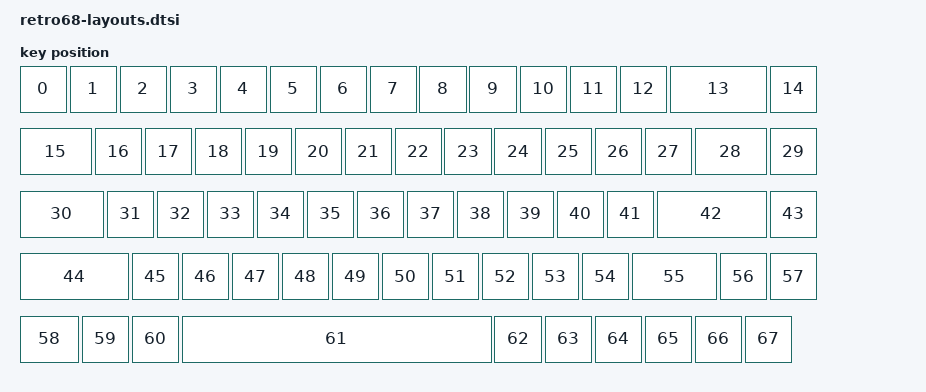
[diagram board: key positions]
#include <physical_layouts.dtsi>

/ {
    physical_layout_retro68: physical_layout_retro68 {
        compatible = "zmk,physical-layout";
        display-name = "Retro68";
        keys  //                     w   h    x    y     rot    rx    ry
            = <&key_physical_attrs 100 100    0    0       0     0     0>
            , <&key_physical_attrs 100 100  100    0       0     0     0>
            , <&key_physical_attrs 100 100  200    0       0     0     0>
            , <&key_physical_attrs 100 100  300    0       0     0     0>
            , <&key_physical_attrs 100 100  400    0       0     0     0>
            , <&key_physical_attrs 100 100  500    0       0     0     0>
            , <&key_physical_attrs 100 100  600    0       0     0     0>
            , <&key_physical_attrs 100 100  700    0       0     0     0>
            , <&key_physical_attrs 100 100  800    0       0     0     0>
            , <&key_physical_attrs 100 100  900    0       0     0     0>
            , <&key_physical_attrs 100 100 1000    0       0     0     0>
            , <&key_physical_attrs 100 100 1100    0       0     0     0>
            , <&key_physical_attrs 100 100 1200    0       0     0     0>
            , <&key_physical_attrs 200 100 1300    0       0     0     0>
            , <&key_physical_attrs 100 100 1500    0       0     0     0>
            , <&key_physical_attrs 150 100    0  125       0     0     0>
            , <&key_physical_attrs 100 100  150  125       0     0     0>
            , <&key_physical_attrs 100 100  250  125       0     0     0>
            , <&key_physical_attrs 100 100  350  125       0     0     0>
            , <&key_physical_attrs 100 100  450  125       0     0     0>
            , <&key_physical_attrs 100 100  550  125       0     0     0>
            , <&key_physical_attrs 100 100  650  125       0     0     0>
            , <&key_physical_attrs 100 100  750  125       0     0     0>
            , <&key_physical_attrs 100 100  850  125       0     0     0>
            , <&key_physical_attrs 100 100  950  125       0     0     0>
            , <&key_physical_attrs 100 100 1050  125       0     0     0>
            , <&key_physical_attrs 100 100 1150  125       0     0     0>
            , <&key_physical_attrs 100 100 1250  125       0     0     0>
            , <&key_physical_attrs 150 100 1350  125       0     0     0>
            , <&key_physical_attrs 100 100 1500  125       0     0     0>
            , <&key_physical_attrs 175 100    0  250       0     0     0>
            , <&key_physical_attrs 100 100  175  250       0     0     0>
            , <&key_physical_attrs 100 100  275  250       0     0     0>
            , <&key_physical_attrs 100 100  375  250       0     0     0>
            , <&key_physical_attrs 100 100  475  250       0     0     0>
            , <&key_physical_attrs 100 100  575  250       0     0     0>
            , <&key_physical_attrs 100 100  675  250       0     0     0>
            , <&key_physical_attrs 100 100  775  250       0     0     0>
            , <&key_physical_attrs 100 100  875  250       0     0     0>
            , <&key_physical_attrs 100 100  975  250       0     0     0>
            , <&key_physical_attrs 100 100 1075  250       0     0     0>
            , <&key_physical_attrs 100 100 1175  250       0     0     0>
            , <&key_physical_attrs 225 100 1275  250       0     0     0>
            , <&key_physical_attrs 100 100 1500  250       0     0     0>
            , <&key_physical_attrs 225 100    0  375       0     0     0>
            , <&key_physical_attrs 100 100  225  375       0     0     0>
            , <&key_physical_attrs 100 100  325  375       0     0     0>
            , <&key_physical_attrs 100 100  425  375       0     0     0>
            , <&key_physical_attrs 100 100  525  375       0     0     0>
            , <&key_physical_attrs 100 100  625  375       0     0     0>
            , <&key_physical_attrs 100 100  725  375       0     0     0>
            , <&key_physical_attrs 100 100  825  375       0     0     0>
            , <&key_physical_attrs 100 100  925  375       0     0     0>
            , <&key_physical_attrs 100 100 1025  375       0     0     0>
            , <&key_physical_attrs 100 100 1125  375       0     0     0>
            , <&key_physical_attrs 175 100 1225  375       0     0     0>
            , <&key_physical_attrs 100 100 1400  375       0     0     0>
            , <&key_physical_attrs 100 100 1500  375       0     0     0>
            , <&key_physical_attrs 125 100    0  500       0     0     0>
            , <&key_physical_attrs 100 100  125  500       0     0     0>
            , <&key_physical_attrs 100 100  225  500       0     0     0>
            , <&key_physical_attrs 625 100  325  500       0     0     0>
            , <&key_physical_attrs 100 100  950  500       0     0     0>
            , <&key_physical_attrs 100 100 1050  500       0     0     0>
            , <&key_physical_attrs 100 100 1150  500       0     0     0>
            , <&key_physical_attrs 100 100 1250  500       0     0     0>
            , <&key_physical_attrs 100 100 1350  500       0     0     0>
            , <&key_physical_attrs 100 100 1450  500       0     0     0>
            ;
    };
};
